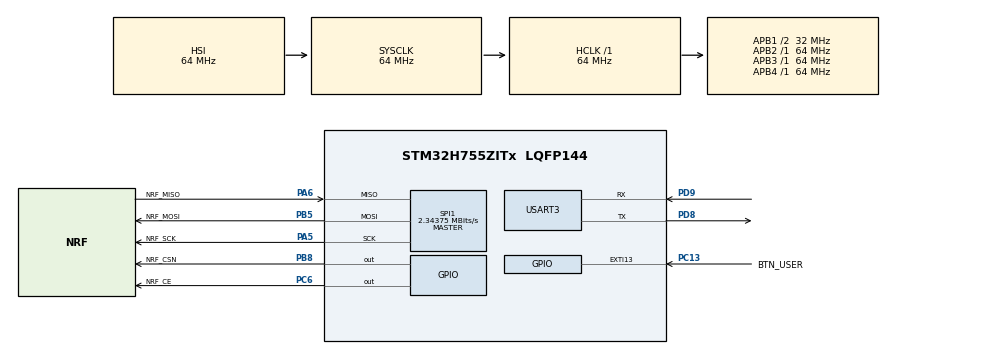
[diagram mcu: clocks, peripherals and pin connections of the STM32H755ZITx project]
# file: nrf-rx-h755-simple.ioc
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CortexM4.IPs=BDMA,CORTEX_M4\:I,DEBUG,DMA,FATFS_M4\:I,FREERTOS_M4\:I,GPIO,IWDG2\:I,MDMA,NVIC2\:I,OPENAMP_M4\:I,PDM2PCM_M4\:I,PWR,RCC,RESMGR_UTILITY,SYS_M4\:I,USB_DEVICE_M4\:I,USB_HOST_M4\:I,VREFBUF,WWDG2\:I
CortexM7.IPs=BDMA\:I,CORTEX_M7\:I,DEBUG\:I,DMA\:I,FATFS_M7\:I,FREERTOS_M7\:I,GPIO\:I,IWDG1\:I,MDMA\:I,NVIC1\:I,OPENAMP_M7\:I,PDM2PCM_M7\:I,PWR\:I,RCC\:I,RESMGR_UTILITY\:I,SYS\:I,USB_DEVICE_M7\:I,USB_HOST_M7\:I,VREFBUF\:I,WWDG1\:I,SPI1\:I,USART3\:I
CortexM7.Pins=PC13,PC6,PB8
Mcu.Family=STM32H7
Mcu.Name=STM32H755ZITx
Mcu.Package=LQFP144
NVIC1.EXTI15_10_IRQn=true\:0\:0\:false\:false\:true\:true\:true\:true
NVIC1.PriorityGroup=NVIC_PRIORITYGROUP_4
NVIC2.PriorityGroup=NVIC_PRIORITYGROUP_4
PA5.GPIO_Label=NRF_SCK
PA5.Mode=Full_Duplex_Master
PA5.PinAttribute=CortexM7
PA5.Signal=SPI1_SCK
PA6.GPIO_Label=NRF_MISO
PA6.Mode=Full_Duplex_Master
PA6.PinAttribute=CortexM7
PA6.Signal=SPI1_MISO
PB5.GPIO_Label=NRF_MOSI
PB5.Mode=Full_Duplex_Master
PB5.PinAttribute=CortexM7
PB5.Signal=SPI1_MOSI
PB8.GPIO_Label=NRF_CSN
PB8.PinAttribute=CortexM7
PB8.Signal=GPIO_Output
PC13.GPIO_Label=BTN_USER
PC13.PinAttribute=CortexM7
PC13.Signal=GPXTI13
PC6.GPIO_Label=NRF_CE
PC6.PinAttribute=CortexM7
PC6.Signal=GPIO_Output
PD8.Mode=Asynchronous
PD8.PinAttribute=CortexM7
PD8.Signal=USART3_TX
PD9.Mode=Asynchronous
PD9.PinAttribute=CortexM7
PD9.Signal=USART3_RX
ProjectManager.HeapSize=M4-0x200,M7-0x200
ProjectManager.StackSize=M4-0x400,M7-0x400
ProjectManager.TargetToolchain=STM32CubeIDE
RCC.ADCFreq_Value=129000000
RCC.APB1Freq_Value=32000000
RCC.APB2Freq_Value=64000000
RCC.APB3Freq_Value=64000000
RCC.APB4Freq_Value=64000000
RCC.CortexFreq_Value=64000000
RCC.D2PPRE1=RCC_APB1_DIV2
RCC.DIVM1=4
RCC.DIVN1=9
RCC.HCLKFreq_Value=64000000
RCC.PLLFRACN=3072
RCC.SYSCLKFreq_VALUE=64000000
RCC.USBFreq_Value=75000000
SPI1.BaudRatePrescaler=SPI_BAUDRATEPRESCALER_32
SPI1.CalculateBaudRate=2.34375 MBits/s
SPI1.DataSize=SPI_DATASIZE_8BIT
SPI1.Direction=SPI_DIRECTION_2LINES
SPI1.Mode=SPI_MODE_MASTER
SPI1.VirtualType=VM_MASTER
USART3.VirtualMode-Asynchronous=VM_ASYNC
board=custom

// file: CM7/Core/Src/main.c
/* USER CODE BEGIN Header */
/**
  ******************************************************************************
  * @file           : main.c
  * @brief          : Main program body
  ******************************************************************************
  * @attention
  *
  * Copyright (c) 2023 STMicroelectronics.
  * All rights reserved.
  *
  * This software is licensed under terms that can be found in the LICENSE file
  * in the root directory of this software component.
  * If no LICENSE file comes with this software, it is provided AS-IS.
  *
  ******************************************************************************
  */
/* USER CODE END Header */
#include "main.h"

/* USER CODE BEGIN Includes */
#include <stdio.h>
#include "nrf24l01.h"
/* USER CODE END Includes */

/* USER CODE BEGIN PD */

#ifndef HSEM_ID_0
#define HSEM_ID_0 (0U) /* HW semaphore 0*/
#endif

/* USER CODE END PD */

SPI_HandleTypeDef hspi1;

UART_HandleTypeDef huart3;

void SystemClock_Config(void);
static void MX_GPIO_Init(void);
static void MX_SPI1_Init(void);
static void MX_USART3_UART_Init(void);

/* USER CODE BEGIN 0 */

/**************************************
 *           EXAMPLE CODE BEGIN
 **************************************/

// BEGIN REDIRECT
// This is used to redirect printf to UART
#ifdef __GNUC__
#define PUTCHAR_PROTOTYPE int __io_putchar(int ch)
#else
#define PUTCHAR_PROTOTYPE int fputc(int ch, FILE *f)
#endif

PUTCHAR_PROTOTYPE
{
  HAL_UART_Transmit(&huart3, (uint8_t *)&ch, 1, HAL_MAX_DELAY);
  return ch;
}
// END REDIRECT

// Configure the device and wait for packages forever.
void runExample() {
  printf("\r\nStarting up simple RX H7...\r\n");

  // Initialise the library and make the device enter standby-I mode
  if(NRF_Init(&hspi1, NRF_CSN_GPIO_Port, NRF_CSN_Pin, NRF_CE_GPIO_Port, NRF_CE_Pin) != NRF_OK) {
    printf("Couldn't initialise device, are pins correctly connected?\r\n");
    Error_Handler();
  }

  if(NRF_VerifySPI() != NRF_OK) {
	printf("Couldn't initialise device, are pins correctly connected?\r\n");
  }

  // Resets all registers but keeps the device in standby-I mode
  NRF_Reset();

  // Set the recieving adress.
  uint8_t address[5] = {1,2,3,4,5};
  NRF_WriteRegister(NRF_REG_RX_ADDR_P0, address, 5);

  // Set the datawidth of the received data
  NRF_WriteRegisterByte(NRF_REG_RX_PW_P0, 10);

  // Enter RX mode
  NRF_EnterMode(NRF_MODE_RX);

  // Wait for data
  uint8_t payload[10];
  uint8_t STATUS_REGISTER_RX_DR_BIT = 6;
  uint8_t status;
  printf("Waiting for data...\r\n");
  for(;;) {
    status = NRF_ReadStatus();
    if (status & (1<<STATUS_REGISTER_RX_DR_BIT)) {
      // We've received data
      NRF_ReadPayload(payload, 10);
      printf("Payload: ");
      for (int i = 0; i < 10; i++) {
        printf("%c", payload[i]);
      }
      printf("\r\n");

      // Reset RX_DR
      NRF_SetRegisterBit(NRF_REG_STATUS, 6);
    }
  }
}

// This runs when user button is pressed
void HAL_GPIO_EXTI_Callback(uint16_t GPIO_Pin) {
  if (GPIO_Pin == BTN_USER_Pin) {
    NRF_PrintStatus();
    NRF_PrintFIFOStatus();
  }
}

/**************************************
 *           EXAMPLE CODE END
 **************************************/

/* USER CODE END 0 */

int main(void)
{
/* USER CODE BEGIN Boot_Mode_Sequence_0 */
  int32_t timeout;
/* USER CODE END Boot_Mode_Sequence_0 */

/* USER CODE BEGIN Boot_Mode_Sequence_1 */
  /* Wait until CPU2 boots and enters in stop mode or timeout*/
  /*timeout = 0xFFFF;
  while((__HAL_RCC_GET_FLAG(RCC_FLAG_D2CKRDY) != RESET) && (timeout-- > 0));
  if ( timeout < 0 )
  {
  Error_Handler();
  }*/
/* USER CODE END Boot_Mode_Sequence_1 */
  /* MCU Configuration--------------------------------------------------------*/

  /* Reset of all peripherals, Initializes the Flash interface and the Systick. */
  HAL_Init();

  /* Configure the system clock */
  SystemClock_Config();
/* USER CODE BEGIN Boot_Mode_Sequence_2 */
/* When system initialization is finished, Cortex-M7 will release Cortex-M4 by means of
HSEM notification */
/*HW semaphore Clock enable*/
__HAL_RCC_HSEM_CLK_ENABLE();
/*Take HSEM */
HAL_HSEM_FastTake(HSEM_ID_0);
/*Release HSEM in order to notify the CPU2(CM4)*/
HAL_HSEM_Release(HSEM_ID_0,0);
/* wait until CPU2 wakes up from stop mode */
timeout = 0xFFFF;
while((__HAL_RCC_GET_FLAG(RCC_FLAG_D2CKRDY) == RESET) && (timeout-- > 0));
if ( timeout < 0 )
{
Error_Handler();
}
/* USER CODE END Boot_Mode_Sequence_2 */

  /* Initialize all configured peripherals */
  MX_GPIO_Init();
  MX_SPI1_Init();
  MX_USART3_UART_Init();
  /* USER CODE BEGIN 2 */
  runExample();
  /* USER CODE END 2 */

  /* Infinite loop */
  while (1)
  {

  }
}

void SystemClock_Config(void)
{
  RCC_OscInitTypeDef RCC_OscInitStruct = {0};
  RCC_ClkInitTypeDef RCC_ClkInitStruct = {0};

  /** Supply configuration update enable
  */
  HAL_PWREx_ConfigSupply(PWR_DIRECT_SMPS_SUPPLY);

  /** Configure the main internal regulator output voltage
  */
  __HAL_PWR_VOLTAGESCALING_CONFIG(PWR_REGULATOR_VOLTAGE_SCALE3);

  while(!__HAL_PWR_GET_FLAG(PWR_FLAG_VOSRDY)) {}

  /** Initializes the RCC Oscillators according to the specified parameters
  * in the RCC_OscInitTypeDef structure.
  */
  RCC_OscInitStruct.OscillatorType = RCC_OSCILLATORTYPE_HSI;
  RCC_OscInitStruct.HSIState = RCC_HSI_DIV1;
  RCC_OscInitStruct.HSICalibrationValue = RCC_HSICALIBRATION_DEFAULT;
  RCC_OscInitStruct.PLL.PLLState = RCC_PLL_ON;
  RCC_OscInitStruct.PLL.PLLSource = RCC_PLLSOURCE_HSI;
  RCC_OscInitStruct.PLL.PLLM = 4;
  RCC_OscInitStruct.PLL.PLLN = 9;
  RCC_OscInitStruct.PLL.PLLP = 2;
  RCC_OscInitStruct.PLL.PLLQ = 2;
  RCC_OscInitStruct.PLL.PLLR = 2;
  RCC_OscInitStruct.PLL.PLLRGE = RCC_PLL1VCIRANGE_3;
  RCC_OscInitStruct.PLL.PLLVCOSEL = RCC_PLL1VCOMEDIUM;
  RCC_OscInitStruct.PLL.PLLFRACN = 3072;
  if (HAL_RCC_OscConfig(&RCC_OscInitStruct) != HAL_OK)
  {
    Error_Handler();
  }

  /** Initializes the CPU, AHB and APB buses clocks
  */
  RCC_ClkInitStruct.ClockType = RCC_CLOCKTYPE_HCLK|RCC_CLOCKTYPE_SYSCLK
                              |RCC_CLOCKTYPE_PCLK1|RCC_CLOCKTYPE_PCLK2
                              |RCC_CLOCKTYPE_D3PCLK1|RCC_CLOCKTYPE_D1PCLK1;
  RCC_ClkInitStruct.SYSCLKSource = RCC_SYSCLKSOURCE_HSI;
  RCC_ClkInitStruct.SYSCLKDivider = RCC_SYSCLK_DIV1;
  RCC_ClkInitStruct.AHBCLKDivider = RCC_HCLK_DIV1;
  RCC_ClkInitStruct.APB3CLKDivider = RCC_APB3_DIV1;
  RCC_ClkInitStruct.APB1CLKDivider = RCC_APB1_DIV2;
  RCC_ClkInitStruct.APB2CLKDivider = RCC_APB2_DIV1;
  RCC_ClkInitStruct.APB4CLKDivider = RCC_APB4_DIV1;

  if (HAL_RCC_ClockConfig(&RCC_ClkInitStruct, FLASH_LATENCY_1) != HAL_OK)
  {
    Error_Handler();
  }
}

static void MX_SPI1_Init(void)
{

  /* SPI1 parameter configuration*/
  hspi1.Instance = SPI1;
  hspi1.Init.Mode = SPI_MODE_MASTER;
  hspi1.Init.Direction = SPI_DIRECTION_2LINES;
  hspi1.Init.DataSize = SPI_DATASIZE_8BIT;
  hspi1.Init.CLKPolarity = SPI_POLARITY_LOW;
  hspi1.Init.CLKPhase = SPI_PHASE_1EDGE;
  hspi1.Init.NSS = SPI_NSS_SOFT;
  hspi1.Init.BaudRatePrescaler = SPI_BAUDRATEPRESCALER_32;
  hspi1.Init.FirstBit = SPI_FIRSTBIT_MSB;
  hspi1.Init.TIMode = SPI_TIMODE_DISABLE;
  hspi1.Init.CRCCalculation = SPI_CRCCALCULATION_DISABLE;
  hspi1.Init.CRCPolynomial = 0x0;
  hspi1.Init.NSSPMode = SPI_NSS_PULSE_ENABLE;
  hspi1.Init.NSSPolarity = SPI_NSS_POLARITY_LOW;
  hspi1.Init.FifoThreshold = SPI_FIFO_THRESHOLD_01DATA;
  hspi1.Init.TxCRCInitializationPattern = SPI_CRC_INITIALIZATION_ALL_ZERO_PATTERN;
  hspi1.Init.RxCRCInitializationPattern = SPI_CRC_INITIALIZATION_ALL_ZERO_PATTERN;
  hspi1.Init.MasterSSIdleness = SPI_MASTER_SS_IDLENESS_00CYCLE;
  hspi1.Init.MasterInterDataIdleness = SPI_MASTER_INTERDATA_IDLENESS_00CYCLE;
  hspi1.Init.MasterReceiverAutoSusp = SPI_MASTER_RX_AUTOSUSP_DISABLE;
  hspi1.Init.MasterKeepIOState = SPI_MASTER_KEEP_IO_STATE_DISABLE;
  hspi1.Init.IOSwap = SPI_IO_SWAP_DISABLE;
  if (HAL_SPI_Init(&hspi1) != HAL_OK)
  {
    Error_Handler();
  }

}

static void MX_USART3_UART_Init(void)
{

  huart3.Instance = USART3;
  huart3.Init.BaudRate = 115200;
  huart3.Init.WordLength = UART_WORDLENGTH_8B;
  huart3.Init.StopBits = UART_STOPBITS_1;
  huart3.Init.Parity = UART_PARITY_NONE;
  huart3.Init.Mode = UART_MODE_TX_RX;
  huart3.Init.HwFlowCtl = UART_HWCONTROL_NONE;
  huart3.Init.OverSampling = UART_OVERSAMPLING_16;
  huart3.Init.OneBitSampling = UART_ONE_BIT_SAMPLE_DISABLE;
  huart3.Init.ClockPrescaler = UART_PRESCALER_DIV1;
  huart3.AdvancedInit.AdvFeatureInit = UART_ADVFEATURE_NO_INIT;
  if (HAL_UART_Init(&huart3) != HAL_OK)
  {
    Error_Handler();
  }
  if (HAL_UARTEx_SetTxFifoThreshold(&huart3, UART_TXFIFO_THRESHOLD_1_8) != HAL_OK)
  {
    Error_Handler();
  }
  if (HAL_UARTEx_SetRxFifoThreshold(&huart3, UART_RXFIFO_THRESHOLD_1_8) != HAL_OK)
  {
    Error_Handler();
  }
  if (HAL_UARTEx_DisableFifoMode(&huart3) != HAL_OK)
  {
    Error_Handler();
  }

}

static void MX_GPIO_Init(void)
{
  GPIO_InitTypeDef GPIO_InitStruct = {0};

  /* GPIO Ports Clock Enable */
  __HAL_RCC_GPIOC_CLK_ENABLE();
  __HAL_RCC_GPIOA_CLK_ENABLE();
  __HAL_RCC_GPIOD_CLK_ENABLE();
  __HAL_RCC_GPIOB_CLK_ENABLE();

  /*Configure GPIO pin Output Level */
  HAL_GPIO_WritePin(NRF_CE_GPIO_Port, NRF_CE_Pin, GPIO_PIN_RESET);

  /*Configure GPIO pin Output Level */
  HAL_GPIO_WritePin(NRF_CSN_GPIO_Port, NRF_CSN_Pin, GPIO_PIN_RESET);

  /*Configure GPIO pin : BTN_USER_Pin */
  GPIO_InitStruct.Pin = BTN_USER_Pin;
  GPIO_InitStruct.Mode = GPIO_MODE_IT_RISING;
  GPIO_InitStruct.Pull = GPIO_NOPULL;
  HAL_GPIO_Init(BTN_USER_GPIO_Port, &GPIO_InitStruct);

  /*Configure GPIO pin : NRF_CE_Pin */
  GPIO_InitStruct.Pin = NRF_CE_Pin;
  GPIO_InitStruct.Mode = GPIO_MODE_OUTPUT_PP;
  GPIO_InitStruct.Pull = GPIO_NOPULL;
  GPIO_InitStruct.Speed = GPIO_SPEED_FREQ_LOW;
  HAL_GPIO_Init(NRF_CE_GPIO_Port, &GPIO_InitStruct);

  /*Configure GPIO pin : NRF_CSN_Pin */
  GPIO_InitStruct.Pin = NRF_CSN_Pin;
  GPIO_InitStruct.Mode = GPIO_MODE_OUTPUT_PP;
  GPIO_InitStruct.Pull = GPIO_NOPULL;
  GPIO_InitStruct.Speed = GPIO_SPEED_FREQ_LOW;
  HAL_GPIO_Init(NRF_CSN_GPIO_Port, &GPIO_InitStruct);

  /* EXTI interrupt init*/
  HAL_NVIC_SetPriority(EXTI15_10_IRQn, 0, 0);
  HAL_NVIC_EnableIRQ(EXTI15_10_IRQn);

}

void Error_Handler(void)
{
  __disable_irq();
  while (1)
  {
  }
}
